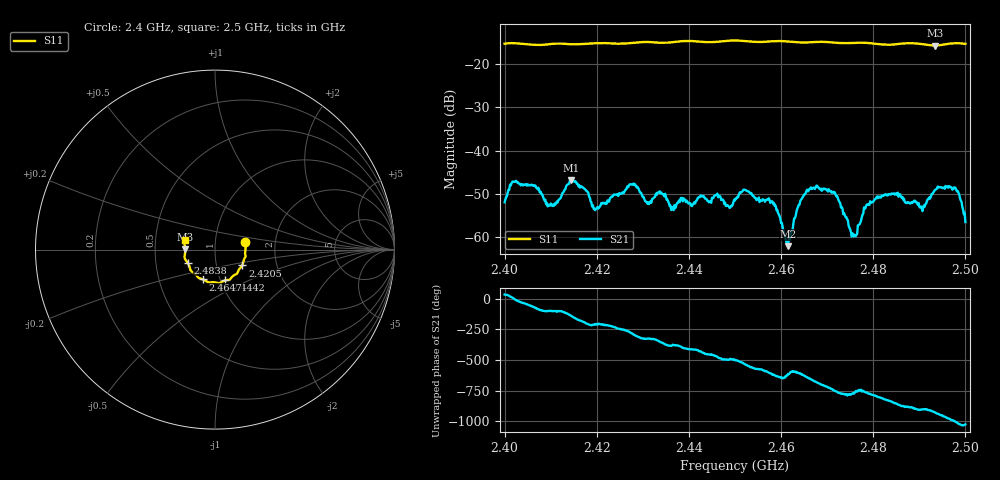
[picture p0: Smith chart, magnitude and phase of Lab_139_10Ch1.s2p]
# Hz S RI R 50
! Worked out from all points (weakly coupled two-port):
!   601 points, 2.4 GHz to 2.5 GHz, reference 50 ohm
!   highest |S21| = -46.83 dB at 2.4143 GHz (marker M1); lowest = -62.1 dB at 2.4615 GHz (marker M2)
!   lowest |S11| = -15.6 dB at 2.4935 GHz (marker M3), VSWR 1.40, Z = 35.8 + j0.134 ohm
!   |S11| at or under -10 dB: start of sweep to end of sweep
!   S12 and S22 are empty: the file has one direction only
!   S11 on the Smith chart (normalised r, x): 2.4 GHz: 1.40, +0.11; 2.4205 GHz: 1.33, -0.24; 2.4442 GHz: 1.05, -0.37; 2.4647 GHz: 0.83, -0.29; 2.4838 GHz: 0.73, -0.11; 2.5 GHz: 0.71, +0.08
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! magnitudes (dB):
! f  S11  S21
! 2.4 GHz  -15.2  -52.0
! 2.4023 GHz  -15.1  -47.1
! 2.4107 GHz  -15.2  -52.8
! 2.4143 GHz  -15.3  -46.8
! 2.4167 GHz  -15.3  -48.3
! 2.4205 GHz  -15.1  -53.2
! 2.4275 GHz  -15.1  -47.8
! 2.4333 GHz  -15.0  -49.7
! 2.4442 GHz  -14.9  -51.6
! 2.45 GHz  -14.5  -51.6
! 2.4577 GHz  -14.7  -52.1
! 2.4615 GHz  -14.7  -62.1
! 2.4647 GHz  -14.9  -50.8
! 2.4667 GHz  -14.9  -48.9
! 2.4718 GHz  -15.0  -50.2
! 2.4758 GHz  -15.0  -59.4
! 2.4833 GHz  -15.5  -50.1
! 2.4838 GHz  -15.4  -50.2
! 2.4907 GHz  -15.3  -54.0
! 2.4935 GHz  -15.6  -49.1
! 2.498 GHz  -15.1  -49.0
! 2.5 GHz  -15.2  -56.6
